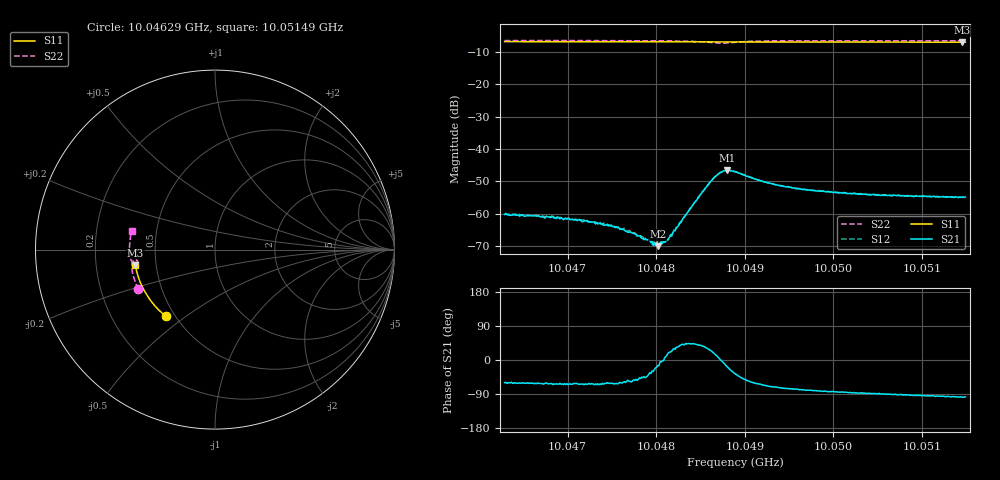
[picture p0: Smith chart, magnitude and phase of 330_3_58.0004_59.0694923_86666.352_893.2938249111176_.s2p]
#  HZ  S  RI  R  50.00
! Rohde & Schwarz Vector Network Analyzer
! Rohde-Schwarz,ZNB20-2Port,1311601062101988,3.16
! Created: UTC 3/21/2024, 1:05:04 AM
! freq[Hz]  re:S11  im:S11  re:S21  im:S21  re:S12  im:S12  re:S22  im:S22
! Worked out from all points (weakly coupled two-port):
!   401 points, 10.04629 GHz to 10.05149 GHz, reference 50 ohm
!   highest |S21| = -46.65 dB at 10.0488 GHz (marker M1); lowest = -70.1 dB at 10.04802 GHz (marker M2)
!   lowest |S11| = -6.9 dB at 10.05145 GHz (marker M3), VSWR 2.65, Z = 19 - j4.09 ohm
!   |S11| at or under -10 dB: nowhere
!   |S22| runs from -7.2 to -6.4 dB; largest |S21 - S12| = 0.00033
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1.0046288e10  -0.2742 -0.371  0.000489 -0.000835  0.000557 -0.000803  -0.4276 -0.22
1.0046808e10  -0.3003 -0.3486  0.000409 -0.000761  0.000453 -0.000754  -0.4415 -0.1879
1.004716e10  -0.317 -0.3327  0.000335 -0.000672  0.000406 -0.000688  -0.4496 -0.1654
1.004755e10  -0.3347 -0.3137  0.000299 -0.000553  0.000345 -0.000501  -0.4574 -0.1394
1.0047719e10  -0.342 -0.3052  0.000269 -0.000429  0.000338 -0.000382  -0.4599 -0.1274
1.0047927e10  -0.3505 -0.2944  0.000324 -0.000213  0.000331 -0.000196  -0.4625 -0.1122
1.0047979e10  -0.3527 -0.2917  0.000314 -0.000146  0.000341 -0.000174  -0.4632 -0.1083
1.0048018e10  -0.3542 -0.2897  0.000302 -7.72e-05  0.000367 -6.75e-05  -0.4634 -0.1053
1.0048031e10  -0.3548 -0.289  0.000324 -8.67e-05  0.000335 -5.69e-05  -0.4634 -0.104
1.0048122e10  -0.3585 -0.2844  0.000381 8.87e-05  0.000371 0.000114  -0.464 -0.0968
1.0048214e10  -0.362 -0.2795  0.00048 0.000255  0.000459 0.000295  -0.4639 -0.0893
1.00485e10  -0.3727 -0.2639  0.00154 0.00125  0.00147 0.00132  -0.4552 -0.0634
1.0048643e10  -0.3775 -0.256  0.00324 0.00116  0.0032 0.00134  -0.4399 -0.057
1.0048721e10  -0.3803 -0.2518  0.00427 0.000137  0.00428 0.00042  -0.4322 -0.0632
1.0048799e10  -0.3828 -0.2475  0.00444 -0.00138  0.00455 -0.00111  -0.4331 -0.0732
1.004889e10  -0.386 -0.2426  0.00359 -0.00261  0.00377 -0.00243  -0.4437 -0.0783
1.0049255e10  -0.398 -0.2216  0.00109 -0.00279  0.0013 -0.00274  -0.4696 -0.0526
1.0049437e10  -0.4034 -0.211  0.000721 -0.00253  0.000869 -0.0025  -0.4731 -0.0377
1.0049762e10  -0.4124 -0.1917  0.000374 -0.00225  0.000515 -0.00222  -0.4759 -0.013
1.0050634e10  -0.4319 -0.1377  2.93e-06 -0.00191  0.000103 -0.00191  -0.4738 0.0475
1.0051454e10  -0.444 -0.0856  -0.000238 -0.00177  -0.000149 -0.00178  -0.4651 0.1015
1.0051493e10  -0.4445 -0.0831  -0.000231 -0.00179  -0.000155 -0.00178  -0.4646 0.1039
